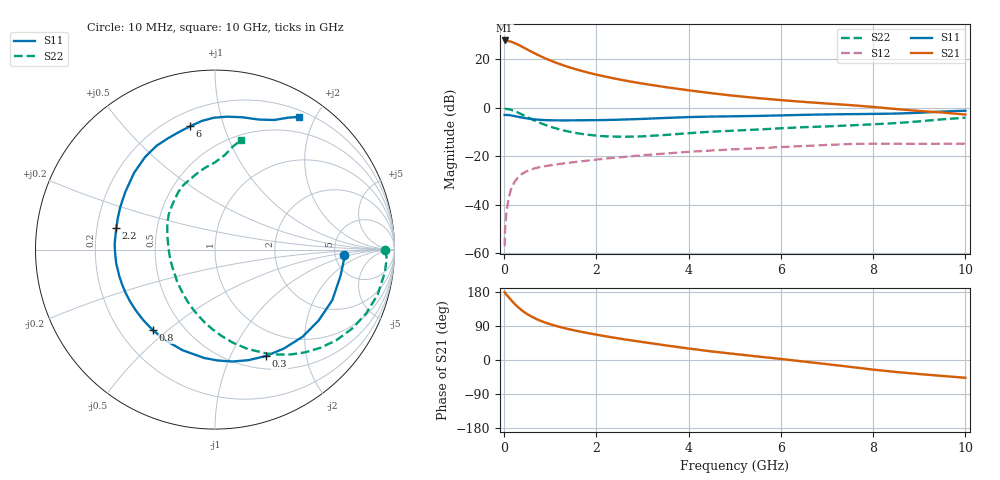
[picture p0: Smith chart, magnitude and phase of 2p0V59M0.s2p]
! (c) 2009  Infineon Technologies AG, Munich
! Infineon Technologies  Discrete & RF Semiconductors
! BFP420
! VCE =  0.5 V,  IC =  9.0 mA
! Common Emitter S-Parameters:  Nov 2009
# GHz  S  MA  R  50
!  f  S11  S21  S12  S22
! GHz  MAG  ANG  MAG  ANG  MAG  ANG  MAG  ANG
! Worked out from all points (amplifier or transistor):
!   46 points, 10 MHz to 10 GHz, reference 50 ohm
!   highest |S21| = 27.9 dB at 10 MHz (marker M1)
!   |S21| within 3 dB of that: start of sweep to 430.3 MHz
!   unconditionally stable (mu >= 1): 2.331 GHz to end of sweep
!   at 300 MHz: K = 0.19, MSG = 27.4 dB, |S12| = -28.7 dB
!   at 1.7 GHz: K = 0.83, MSG = 18.6 dB, |S12| = -22.0 dB
!   at 10 GHz: K = 1.06, MAG = 4.5 dB, |S12| = -14.7 dB
!   S11 on the Smith chart (normalised r, x): 10 MHz: 6.02, -0.78; 300 MHz: 0.66, -1.37; 800 MHz: 0.34, -0.45; 2.2 GHz: 0.28, +0.10; 6 GHz: 0.29, +0.78; 10 GHz: 0.28, +1.79
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0.01  0.7192 -2.5  24.71 179.2  0.0014 103.9  0.9492 -0.1
0.02  0.72 -4.8  24.23 177.4  0.003 86.9  0.9578 -3.0
0.1  0.7119 -23.2  23.98 165.4  0.0142 79.1  0.94 -15.5
0.15  0.6997 -34.4  23.27 158.2  0.0209 73.8  0.9142 -23.0
0.2  0.6882 -44.9  22.4 151.7  0.0268 68.9  0.8809 -30.1
0.25  0.6718 -55.0  21.3 145.3  0.0321 64.6  0.8436 -36.8
0.3  0.6574 -64.4  20.29 139.6  0.0367 60.5  0.8025 -43.0
0.4  0.6309 -81.3  18.13 129.6  0.0442 53.9  0.7219 -54.0
0.5  0.607 -95.6  16.12 121.2  0.0499 48.8  0.6472 -63.5
0.6  0.5891 -107.9  14.36 114.1  0.0543 44.9  0.5828 -71.8
0.7  0.5758 -118.5  12.85 108.1  0.0577 42.0  0.5277 -79.2
0.8  0.5671 -127.5  11.56 103.0  0.0606 39.8  0.4816 -85.8
1  0.5564 -142.5  9.56 94.4  0.0654 36.7  0.4107 -97.9
1.2  0.5534 -154.2  8.081 87.4  0.0697 34.8  0.3605 -108.7
1.7  0.5561 -176.1  5.753 73.7  0.0796 32.1  0.2895 -132.1
2.2  0.5631 167.8  4.418 62.6  0.0897 29.7  0.2596 -152.8
3.5  0.6215 136.5  2.687 38.6  0.1149 22.1  0.277 163.6
5.5  0.6844 107.3  1.595 9.2  0.1475 7.9  0.3584 129.0
6  0.7009 101.4  1.451 2.7  0.1554 4.3  0.3806 122.5
7  0.7348 90.5  1.232 -11.0  0.1722 -4.2  0.4157 109.5
8.5  0.7649 71.3  0.949 -31.7  0.1823 -20.0  0.486 90.0
10  0.8765 57.6  0.73 -46.9  0.1832 -29.9  0.6281 76.6
